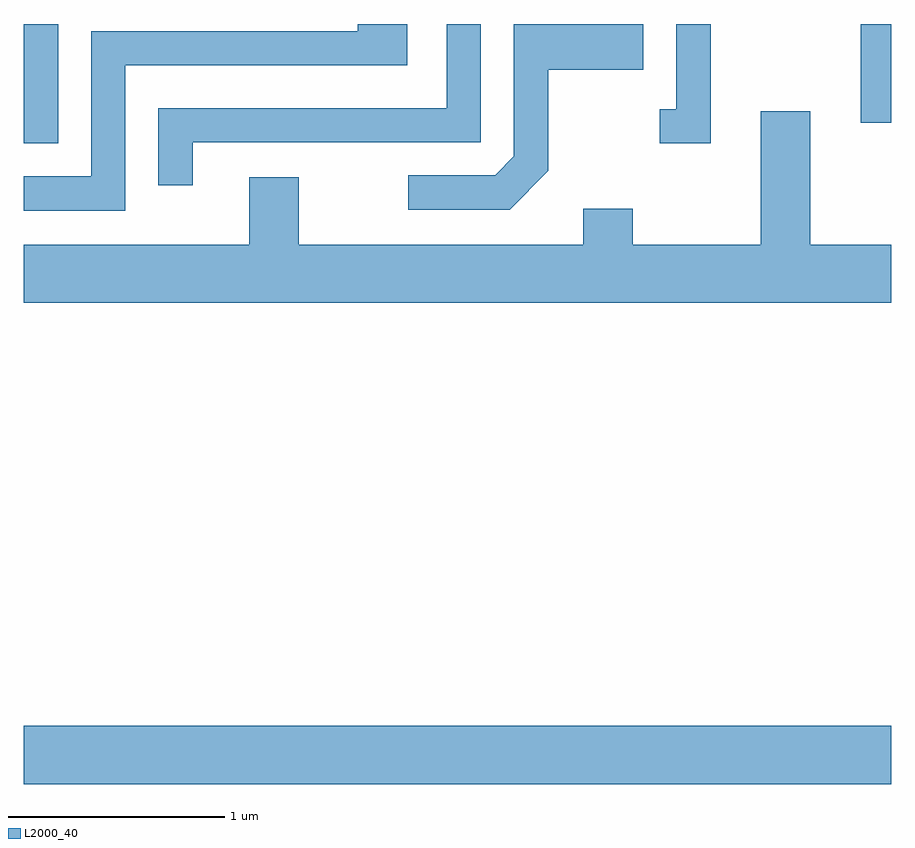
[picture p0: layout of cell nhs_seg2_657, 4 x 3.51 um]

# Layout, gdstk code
import gdstk
lib = gdstk.Library(unit=1e-6, precision=1e-09)
def R(c, l, rs):  # rectangles x0, y0, x1, y1
    for r in rs: c.add(gdstk.rectangle(r[:2], r[2:], *l))
def P(c, l, *ps):  # polygons
    for p in ps: c.add(gdstk.Polygon(p, *l))
L2000_40 = (2000, 40)

nhs_seg2_657 = lib.new_cell('nhs_seg2_657')
R(nhs_seg2_657, L2000_40, [(203.611,1068.296,207.611,1068.564), (203.611,1071.251,203.769,1071.802), (207.471,1071.346,207.611,1071.802)])
P(nhs_seg2_657, L2000_40, [(206.779,1071.802),(206.621,1071.802),(206.621,1071.409),(206.543,1071.409),(206.543,1071.251),(206.779,1071.251)],
  [(204.389,1071.256),(205.719,1071.256),(205.719,1071.802),(205.561,1071.802),(205.561,1071.414),(204.231,1071.414),(204.231,1071.058),(204.389,1071.058)],
  [(204.079,1071.611),(205.379,1071.611),(205.379,1071.802),(205.151,1071.802),(205.151,1071.769),(203.921,1071.769),(203.921,1071.099),(203.611,1071.099),(203.611,1070.941),(204.079,1070.941)],
  [(206.029,1071.124),(206.029,1071.591),(206.469,1071.591),(206.469,1071.802),(205.871,1071.802),(205.871,1071.192),(205.784,1071.104),(205.383,1071.104),(205.383,1070.946),(205.852,1070.946)],
  [(207.611,1070.784),(207.239,1070.784),(207.239,1071.399),(207.011,1071.399),(207.011,1070.784),(206.419,1070.784),(206.419,1070.949),(206.191,1070.949),(206.191,1070.784),(204.879,1070.784),(204.879,1071.094),(204.651,1071.094),(204.651,1070.784),(203.611,1070.784),(203.611,1070.516),(207.611,1070.516)])

lib.write_gds('nhs_seg2_657.gds')
